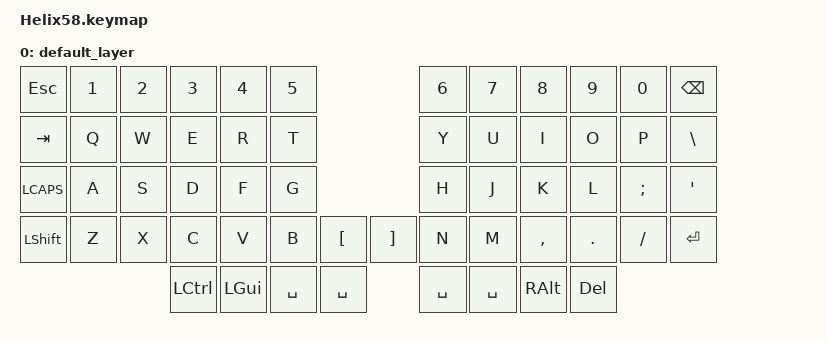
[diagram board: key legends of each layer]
#include <behaviors.dtsi>
#include <dt-bindings/zmk/keys.h>
#include <dt-bindings/zmk/bt.h>


/ {
    keymap {
        compatible = "zmk,keymap";

        default_layer {
// ------------------------------------------------------------------------------------------------------------
// |  ESC  |  1  |  2  |  3   |  4   |  5   |                   |  6   |  7    |  8    |  9   |   0   |  BSPC |
// |  TAB  |  Q  |  W  |  E   |  R   |  T   |                   |  Y   |  U    |  I    |  O   |   P   |   \   |
// |  CAPS |  A  |  S  |  D   |  F   |  G   |                   |  H   |  J    |  K    |  L   |   ;   |   '   |
// | SHIFT |  Z  |  X  |  C   |  V   |  B   |   "["  |  |  "]"  |  N   |  M    |  ,    |  .   |   /   | SHIFT |
//                     | ALT  | GUI  | LOWER|  SPACE |  | ENTER | RAISE| BSPC  | GUI   |
            bindings = <
&kp ESC   &kp N1 &kp N2 &kp N3   &kp N4   &kp N5                     &kp N6 &kp N7   &kp N8    &kp N9  &kp N0   &kp BSPC
&kp TAB   &kp Q  &kp W  &kp E    &kp R    &kp T                      &kp Y  &kp U    &kp I     &kp O   &kp P    &kp BSLH
&kp LCAPS &kp A  &kp S  &kp D    &kp F    &kp G                      &kp H  &kp J    &kp K     &kp L   &kp SEMI &kp SQT
&kp LSHFT &kp Z  &kp X  &kp C    &kp V    &kp B  &kp LBKT   &kp RBKT &kp N  &kp M    &kp COMMA &kp DOT &kp FSLH &kp RET
                        &kp LCTRL &kp LGUI &kp SPACE  &kp SPACE  &kp SPACE  &kp SPACE  &kp RALT &kp DEL
            >;
        }
    }
}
